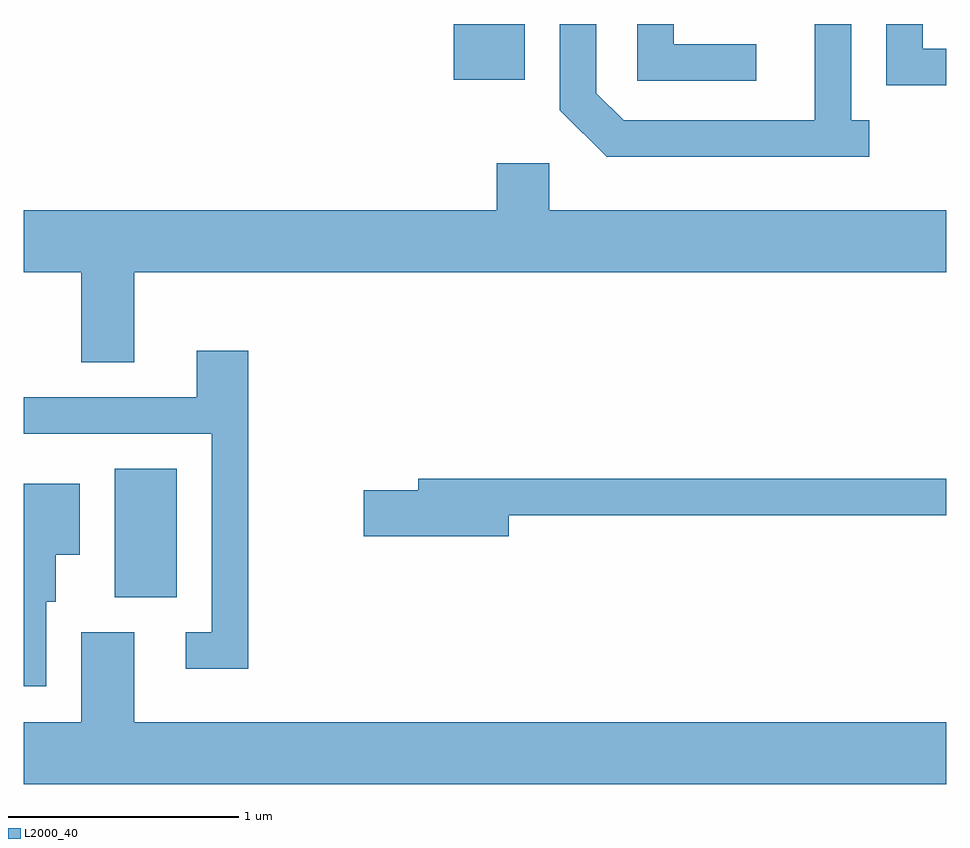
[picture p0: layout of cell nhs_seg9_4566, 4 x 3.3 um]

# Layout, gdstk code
import gdstk
lib = gdstk.Library(unit=1e-6, precision=1e-09)
def R(c, l, rs):  # rectangles x0, y0, x1, y1
    for r in rs: c.add(gdstk.rectangle(r[:2], r[2:], *l))
def P(c, l, *ps):  # polygons
    for p in ps: c.add(gdstk.Polygon(p, *l))
L2000_40 = (2000, 40)

nhs_seg9_4566 = lib.new_cell('nhs_seg9_4566')
R(nhs_seg9_4566, L2000_40, [(320.006,2005.946,320.274,2006.504), (321.476,2008.191,321.784,2008.432)])
P(nhs_seg9_4566, L2000_40, [(323.278,2008.014),(323.199,2008.014),(323.199,2008.432),(323.041,2008.432),(323.041,2008.014),(322.212,2008.014),(322.094,2008.132),(322.094,2008.432),(321.936,2008.432),(321.936,2008.059),(322.139,2007.856),(323.278,2007.856)],
  [(322.788,2008.344),(322.429,2008.344),(322.429,2008.432),(322.271,2008.432),(322.271,2008.186),(322.788,2008.186)],
  [(323.611,2008.324),(323.509,2008.324),(323.509,2008.432),(323.351,2008.432),(323.351,2008.166),(323.611,2008.166)],
  [(320.089,2007.356),(323.611,2007.356),(323.611,2007.624),(321.889,2007.624),(321.889,2007.829),(321.661,2007.829),(321.661,2007.624),(319.611,2007.624),(319.611,2007.356),(319.861,2007.356),(319.861,2006.966),(320.089,2006.966)],
  [(320.584,2007.014),(320.361,2007.014),(320.361,2006.814),(319.611,2006.814),(319.611,2006.656),(320.426,2006.656),(320.426,2005.794),(320.313,2005.794),(320.313,2005.636),(320.584,2005.636)],
  [(321.714,2006.301),(323.611,2006.301),(323.611,2006.459),(321.321,2006.459),(321.321,2006.409),(321.086,2006.409),(321.086,2006.211),(321.714,2006.211)],
  [(319.709,2005.926),(319.749,2005.926),(319.749,2006.131),(319.854,2006.131),(319.854,2006.439),(319.611,2006.439),(319.611,2005.561),(319.709,2005.561)],
  [(323.611,2005.404),(320.089,2005.404),(320.089,2005.794),(319.861,2005.794),(319.861,2005.404),(319.611,2005.404),(319.611,2005.136),(323.611,2005.136)])

lib.write_gds('nhs_seg9_4566.gds')
